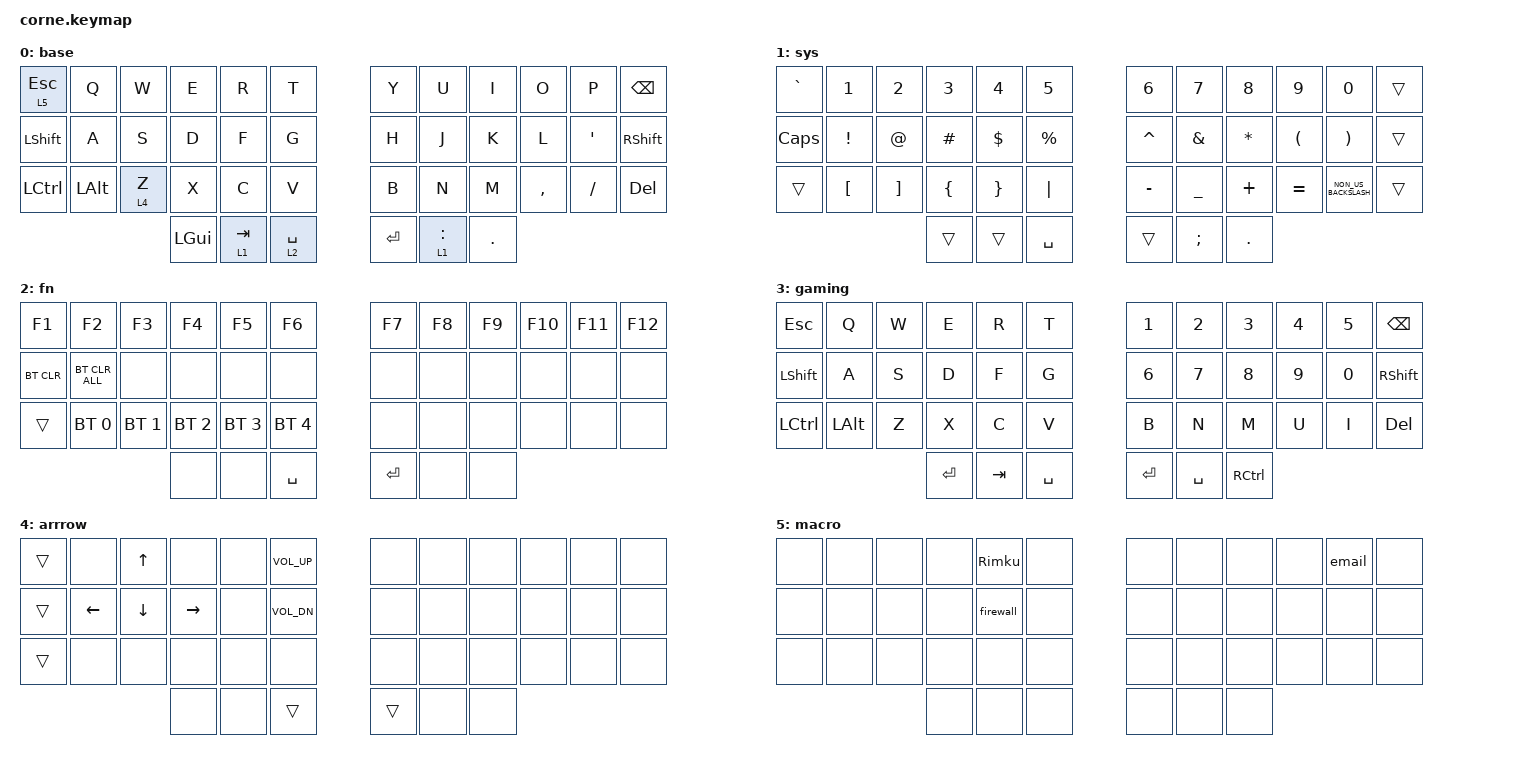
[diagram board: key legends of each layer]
/*
 * SPDX-License-Identifier: MIT
 */

#include <behaviors.dtsi>
#include <dt-bindings/zmk/bt.h>
#include <dt-bindings/zmk/keys.h>

/ {
    /* =========================
     * MACROS
     * ========================= */

    macros {
        /* Move window between virtual desktops */

        rwin: rwin {
            compatible = "zmk,behavior-macro";
            #binding-cells = <0>;
            bindings = <&kp LG(RC(RIGHT_ARROW))>;
        };

        lwin: lwin {
            compatible = "zmk,behavior-macro";
            #binding-cells = <0>;
            bindings = <&kp LG(RC(LEFT_ARROW))>;
        };

        email: email {
            compatible = "zmk,behavior-macro";
            #binding-cells = <0>;
            bindings =
                <&kp H &kp A &kp R &kp W>,
                <&macro_wait_time 100>,
                <&kp I &kp N>,
                <&macro_wait_time 123>,
                <&kp D &kp E &kp R>,
                <&macro_wait_time 111>,
                <&kp DOT &kp S &kp I>,
                <&macro_wait_time 99>,
                <&kp N &kp G &kp H &kp AT>,
                <&macro_wait_time 87>,
                <&kp P &kp H &kp I>,
                <&macro_wait_time 132>,
                <&kp L &kp I &kp P &kp S>,
                <&macro_wait_time 145>,
                <&kp DOT>,
                <&macro_wait_time 124>,
                <&kp C &kp O &kp M>;

            label = "EMAIL";
        };

        Rimku: Rimku {
            compatible = "zmk,behavior-macro";
            #binding-cells = <0>;
            bindings =
                <&kp LS(R)>,
                <&macro_wait_time 100>,
                <&kp EXCL>,
                <&macro_wait_time 112>,
                <&kp M>,
                <&macro_wait_time 74>,
                <&kp K>,
                <&macro_wait_time 120>,
                <&kp U>,
                <&macro_wait_time 102>,
                <&kp N5>,
                <&macro_wait_time 99>,
                <&kp I>,
                <&macro_wait_time 89>,
                <&kp S &kp E>,
                <&macro_wait_time 77>,
                <&kp AT>;

            label = "RIMKU";
        };

        firewall: firewall {
            compatible = "zmk,behavior-macro";
            #binding-cells = <0>;
            bindings =
                <&kp LS(F)>,
                <&macro_wait_time 103>,
                <&kp EXCL>,
                <&macro_wait_time 110>,
                <&kp R>,
                <&macro_wait_time 109>,
                <&kp E>,
                <&macro_wait_time 77>,
                <&kp W>,
                <&macro_wait_time 88>,
                <&kp AT>,
                <&macro_wait_time 74>,
                <&kp L &kp L>,
                <&macro_wait_time 87>,
                <&kp AT_SIGN>;

            label = "FIREWALL";
        };

    };

    combos {
        compatible = "zmk,combos";

        gaming {
            bindings = <&tog 3>;
            key-positions = <34 35 33>;
            layers = <0>;
        };

        Enter {
            bindings = <&kp ENTER>;
            key-positions = <16 17>;
            layers = <0>;
        };

        back {
            bindings = <&kp BACKSPACE>;
            key-positions = <4 5>;
            layers = <0>;
        };

        NFILE {
            bindings = <&kp LC(N)>;
            key-positions = <27 28>;
        };

        wl {
            bindings = <&lwin>;
            key-positions = <13 14>;
        };

        wr {
            bindings = <&rwin>;
            key-positions = <15 16>;
        };

        print {
            bindings = <&kp PRINTSCREEN>;
            key-positions = <36 37 38>;
        };

        appswitch {
            bindings = <&kp LA(TAB)>;
            key-positions = <25 26>;
        };

        lt4 {
            bindings = <&tog 4>;
            key-positions = <5 17 29>;
        };

        att {
            bindings = <&kp AT_SIGN>;
            key-positions = <12 14>;
        };

        escla {
            bindings = <&kp EXCLAMATION>;
            key-positions = <12 13>;
        };
    };

    keymap {
        compatible = "zmk,keymap";

        /* =========================================================
         * BASE LAYER
         * ========================================================= */

        base {
            bindings = <
&lt 5 ESCAPE    &kp Q         &kp W    &kp E         &kp R      &kp T          &kp Y      &kp U        &kp I       &kp O      &kp P      &kp BACKSPACE
&kp LEFT_SHIFT  &kp A         &kp S    &kp D         &kp F      &kp G          &kp H      &kp J        &kp K       &kp L      &kp SQT    &kp RSHFT
&kp LCTRL       &kp LEFT_ALT  &lt 4 Z  &kp X         &kp C      &kp V          &kp B      &kp N        &kp M       &kp COMMA  &kp SLASH  &kp DELETE
                                       &kp LEFT_GUI  &lt 1 TAB  &lt 2 SPACE    &kp ENTER  &lt 1 COLON  &kp PERIOD
            >;
        };

        sys {
            bindings = <
&kp GRAVE     &kp N1            &kp N2             &kp N3          &kp N4           &kp N5         &kp N6     &kp N7          &kp N8     &kp N9                &kp N0                 &trans
&kp CAPSLOCK  &kp EXCL          &kp AT_SIGN        &kp HASH        &kp DOLLAR       &kp PERCENT    &kp CARET  &kp AMPERSAND   &kp ASTRK  &kp LEFT_PARENTHESIS  &kp RIGHT_PARENTHESIS  &trans
&trans        &kp LEFT_BRACKET  &kp RIGHT_BRACKET  &kp LEFT_BRACE  &kp RIGHT_BRACE  &kp PIPE       &kp MINUS  &kp UNDERSCORE  &kp PLUS   &kp EQUAL             &kp NON_US_BACKSLASH   &trans
                                                   &trans          &trans           &kp SPACE      &trans     &kp SEMICOLON   &kp DOT
            >;
        };

        fn {
            bindings = <
&kp F1      &kp F2          &kp F3        &kp F4        &kp F5        &kp F6          &kp F7     &kp F8  &kp F9  &kp F10  &kp F11  &kp F12
&bt BT_CLR  &bt BT_CLR_ALL  &none         &none         &none         &none           &none      &none   &none   &none    &none    &none
&trans      &bt BT_SEL 0    &bt BT_SEL 1  &bt BT_SEL 2  &bt BT_SEL 3  &bt BT_SEL 4    &none      &none   &none   &none    &none    &none
                                          &none         &none         &kp SPACE       &kp ENTER  &none   &none
            >;
        };

        gaming {
            bindings = <
&kp ESC         &kp Q     &kp W  &kp E      &kp R    &kp T        &kp N1     &kp N2     &kp N3     &kp N4  &kp N5  &kp BACKSPACE
&kp LEFT_SHIFT  &kp A     &kp S  &kp D      &kp F    &kp G        &kp N6     &kp N7     &kp N8     &kp N9  &kp N0  &kp RSHFT
&kp LCTRL       &kp LALT  &kp Z  &kp X      &kp C    &kp V        &kp B      &kp N      &kp M      &kp U   &kp I   &kp DEL
                                 &kp ENTER  &kp TAB  &kp SPACE    &kp ENTER  &kp SPACE  &kp RCTRL
            >;
        };

        arrrow {
            bindings = <
&trans  &none           &kp UP_ARROW    &none            &none  &kp C_VOLUME_UP    &none   &none  &none  &none  &none  &none
&trans  &kp LEFT_ARROW  &kp DOWN_ARROW  &kp RIGHT_ARROW  &none  &kp C_VOL_DN       &none   &none  &none  &none  &none  &none
&trans  &none           &none           &none            &none  &none              &none   &none  &none  &none  &none  &none
                                        &none            &none  &trans             &trans  &none  &none
            >;
        };

        macro {
            bindings = <
&none  &none  &none  &none  &Rimku     &none    &none  &none  &none  &none  &email  &none
&none  &none  &none  &none  &firewall  &none    &none  &none  &none  &none  &none   &none
&none  &none  &none  &none  &none      &none    &none  &none  &none  &none  &none   &none
                     &none  &none      &none    &none  &none  &none
            >;
        };

        /* =========================================================
         * HIDDEN / MAINTENANCE LAYER
         * ========================================================= */
    };
};
